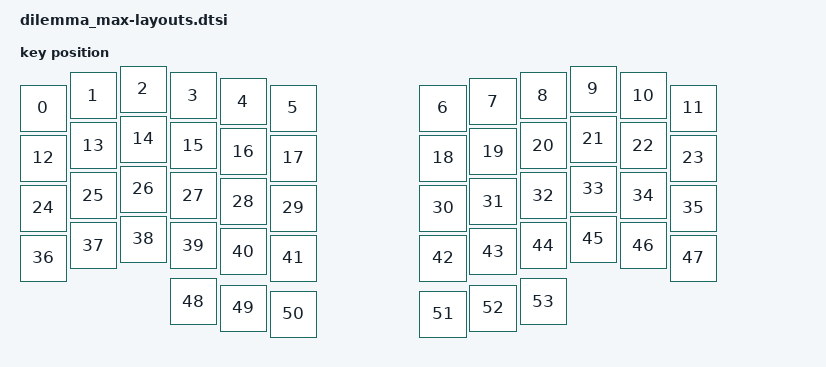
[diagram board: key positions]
// Physical layout for ZMK Studio
// Dilemma Max: 54 keys (6x4 + 3 thumb per side)

#include <physical_layouts.dtsi>

/ {
    default_layout: default_layout {
        compatible = "zmk,physical-layout";
        display-name = "Default";
        transform = <&default_transform>;
        kscan = <&kscan>;

        keys  //                     w   h    x    y     rot    rx    ry
            // Left side - Row 0
            = <&key_physical_attrs 100 100    0   38       0     0     0>
            , <&key_physical_attrs 100 100  100   13       0     0     0>
            , <&key_physical_attrs 100 100  200    0       0     0     0>
            , <&key_physical_attrs 100 100  300   13       0     0     0>
            , <&key_physical_attrs 100 100  400   25       0     0     0>
            , <&key_physical_attrs 100 100  500   38       0     0     0>
            // Right side - Row 0
            , <&key_physical_attrs 100 100  800   38       0     0     0>
            , <&key_physical_attrs 100 100  900   25       0     0     0>
            , <&key_physical_attrs 100 100 1000   13       0     0     0>
            , <&key_physical_attrs 100 100 1100    0       0     0     0>
            , <&key_physical_attrs 100 100 1200   13       0     0     0>
            , <&key_physical_attrs 100 100 1300   38       0     0     0>
            // Left side - Row 1
            , <&key_physical_attrs 100 100    0  138       0     0     0>
            , <&key_physical_attrs 100 100  100  113       0     0     0>
            , <&key_physical_attrs 100 100  200  100       0     0     0>
            , <&key_physical_attrs 100 100  300  113       0     0     0>
            , <&key_physical_attrs 100 100  400  125       0     0     0>
            , <&key_physical_attrs 100 100  500  138       0     0     0>
            // Right side - Row 1
            , <&key_physical_attrs 100 100  800  138       0     0     0>
            , <&key_physical_attrs 100 100  900  125       0     0     0>
            , <&key_physical_attrs 100 100 1000  113       0     0     0>
            , <&key_physical_attrs 100 100 1100  100       0     0     0>
            , <&key_physical_attrs 100 100 1200  113       0     0     0>
            , <&key_physical_attrs 100 100 1300  138       0     0     0>
            // Left side - Row 2
            , <&key_physical_attrs 100 100    0  238       0     0     0>
            , <&key_physical_attrs 100 100  100  213       0     0     0>
            , <&key_physical_attrs 100 100  200  200       0     0     0>
            , <&key_physical_attrs 100 100  300  213       0     0     0>
            , <&key_physical_attrs 100 100  400  225       0     0     0>
            , <&key_physical_attrs 100 100  500  238       0     0     0>
            // Right side - Row 2
            , <&key_physical_attrs 100 100  800  238       0     0     0>
            , <&key_physical_attrs 100 100  900  225       0     0     0>
            , <&key_physical_attrs 100 100 1000  213       0     0     0>
            , <&key_physical_attrs 100 100 1100  200       0     0     0>
            , <&key_physical_attrs 100 100 1200  213       0     0     0>
            , <&key_physical_attrs 100 100 1300  238       0     0     0>
            // Left side - Row 3
            , <&key_physical_attrs 100 100    0  338       0     0     0>
            , <&key_physical_attrs 100 100  100  313       0     0     0>
            , <&key_physical_attrs 100 100  200  300       0     0     0>
            , <&key_physical_attrs 100 100  300  313       0     0     0>
            , <&key_physical_attrs 100 100  400  325       0     0     0>
            , <&key_physical_attrs 100 100  500  338       0     0     0>
            // Right side - Row 3
            , <&key_physical_attrs 100 100  800  338       0     0     0>
            , <&key_physical_attrs 100 100  900  325       0     0     0>
            , <&key_physical_attrs 100 100 1000  313       0     0     0>
            , <&key_physical_attrs 100 100 1100  300       0     0     0>
            , <&key_physical_attrs 100 100 1200  313       0     0     0>
            , <&key_physical_attrs 100 100 1300  338       0     0     0>
            // Left thumb cluster (encoder, thumb2, thumb3)
            , <&key_physical_attrs 100 100  300  425       0     0     0>
            , <&key_physical_attrs 100 100  400  438       0     0     0>
            , <&key_physical_attrs 100 100  500  450       0     0     0>
            // Right thumb cluster (thumb1, thumb2, encoder)
            , <&key_physical_attrs 100 100  800  450       0     0     0>
            , <&key_physical_attrs 100 100  900  438       0     0     0>
            , <&key_physical_attrs 100 100 1000  425       0     0     0>
            ;
    };
};
